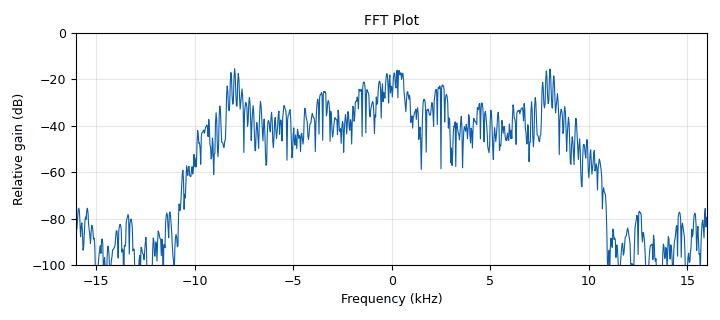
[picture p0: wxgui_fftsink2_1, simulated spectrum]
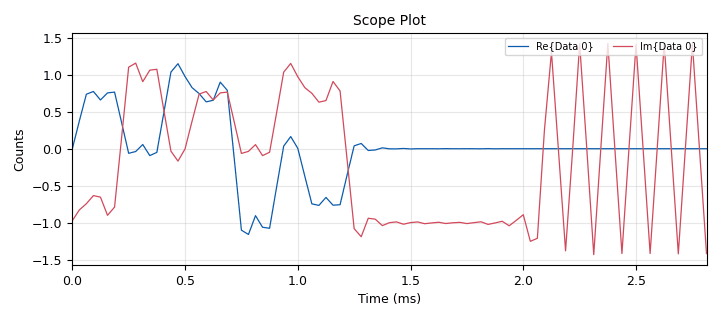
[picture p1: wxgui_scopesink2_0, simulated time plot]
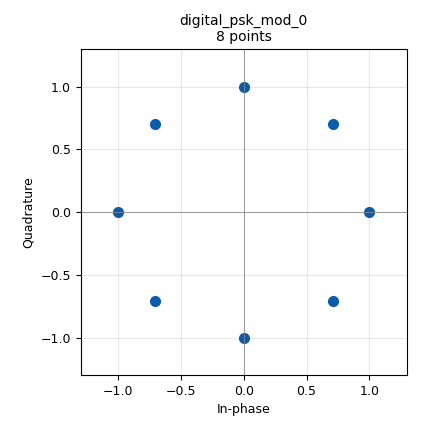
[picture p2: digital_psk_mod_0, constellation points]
<?xml version='1.0' encoding='utf-8'?>
<?grc format='1' created='3.7.9'?>
<flow_graph>
<block>
<key>options</key>
<param><key>id</key><value>top_block</value></param>
<param><key>category</key><value>Custom</value></param>
<param><key>generate_options</key><value>wx_gui</value></param>
</block>
<block>
<key>variable_slider</key>
<param><key>id</key><value>noise</value></param>
<param><key>converver</key><value>float_converter</value></param>
<param><key>value</key><value>0</value></param>
<param><key>label</key><value></value></param>
<param><key>max</key><value>10</value></param>
<param><key>min</key><value>0</value></param>
<param><key>num_steps</key><value>100</value></param>
<param><key>style</key><value>wx.SL_HORIZONTAL</value></param>
</block>
<block>
<key>variable</key>
<param><key>id</key><value>samp_rate</value></param>
<param><key>value</key><value>32000</value></param>
</block>
<block>
<key>analog_sig_source_x</key>
<param><key>id</key><value>analog_sig_source_x_0</value></param>
<param><key>amp</key><value>1</value></param>
<param><key>freq</key><value>1000</value></param>
<param><key>offset</key><value>0</value></param>
<param><key>type</key><value>float</value></param>
<param><key>samp_rate</key><value>samp_rate</value></param>
<param><key>waveform</key><value>analog.GR_SIN_WAVE</value></param>
</block>
<block>
<key>blocks_float_to_char</key>
<param><key>id</key><value>blocks_float_to_char_0</value></param>
<param><key>scale</key><value>1</value></param>
</block>
<block>
<key>blocks_throttle</key>
<param><key>id</key><value>blocks_throttle_0</value></param>
<param><key>samples_per_second</key><value>samp_rate</value></param>
<param><key>type</key><value>float</value></param>
</block>
<block>
<key>digital_psk_mod</key>
<param><key>id</key><value>digital_psk_mod_0</value></param>
<param><key>differential</key><value>True</value></param>
<param><key>excess_bw</key><value>0.35</value></param>
<param><key>mod_code</key><value>"gray"</value></param>
<param><key>constellation_points</key><value>8</value></param>
<param><key>samples_per_symbol</key><value>2</value></param>
</block>
<block>
<key>notebook</key>
<param><key>id</key><value>nb</value></param>
<param><key>labels</key><value>['tab1', 'tab2', 'tab3']</value></param>
<param><key>style</key><value>wx.NB_TOP</value></param>
</block>
<block>
<key>wxgui_fftsink2</key>
<param><key>id</key><value>wxgui_fftsink2_1</value></param>
<param><key>avg_alpha</key><value>0</value></param>
<param><key>average</key><value>False</value></param>
<param><key>baseband_freq</key><value>0</value></param>
<param><key>fft_size</key><value>1024</value></param>
<param><key>freqvar</key><value>None</value></param>
<param><key>notebook</key><value>nb, 0</value></param>
<param><key>peak_hold</key><value>False</value></param>
<param><key>ref_level</key><value>0</value></param>
<param><key>ref_scale</key><value>2.0</value></param>
<param><key>fft_rate</key><value>15</value></param>
<param><key>samp_rate</key><value>samp_rate</value></param>
<param><key>title</key><value>FFT Plot</value></param>
<param><key>type</key><value>complex</value></param>
<param><key>win</key><value>None</value></param>
<param><key>y_divs</key><value>10</value></param>
<param><key>y_per_div</key><value>10</value></param>
</block>
<block>
<key>wxgui_scopesink2</key>
<param><key>id</key><value>wxgui_scopesink2_0</value></param>
<param><key>ac_couple</key><value>False</value></param>
<param><key>notebook</key><value>nb, 1</value></param>
<param><key>num_inputs</key><value>1</value></param>
<param><key>samp_rate</key><value>samp_rate</value></param>
<param><key>t_scale</key><value>0</value></param>
<param><key>title</key><value>Scope Plot</value></param>
<param><key>trig_mode</key><value>wxgui.TRIG_MODE_AUTO</value></param>
<param><key>type</key><value>complex</value></param>
<param><key>v_offset</key><value>0</value></param>
<param><key>v_scale</key><value>0</value></param>
<param><key>xy_mode</key><value>False</value></param>
<param><key>y_axis_label</key><value>Counts</value></param>
</block>
<connection><source_block_id>analog_sig_source_x_0</source_block_id><sink_block_id>blocks_throttle_0</sink_block_id><source_key>0</source_key><sink_key>0</sink_key></connection>
<connection><source_block_id>blocks_float_to_char_0</source_block_id><sink_block_id>digital_psk_mod_0</sink_block_id><source_key>0</source_key><sink_key>0</sink_key></connection>
<connection><source_block_id>blocks_throttle_0</source_block_id><sink_block_id>blocks_float_to_char_0</sink_block_id><source_key>0</source_key><sink_key>0</sink_key></connection>
<connection><source_block_id>digital_psk_mod_0</source_block_id><sink_block_id>wxgui_fftsink2_1</sink_block_id><source_key>0</source_key><sink_key>0</sink_key></connection>
<connection><source_block_id>digital_psk_mod_0</source_block_id><sink_block_id>wxgui_scopesink2_0</sink_block_id><source_key>0</source_key><sink_key>0</sink_key></connection>
</flow_graph>
